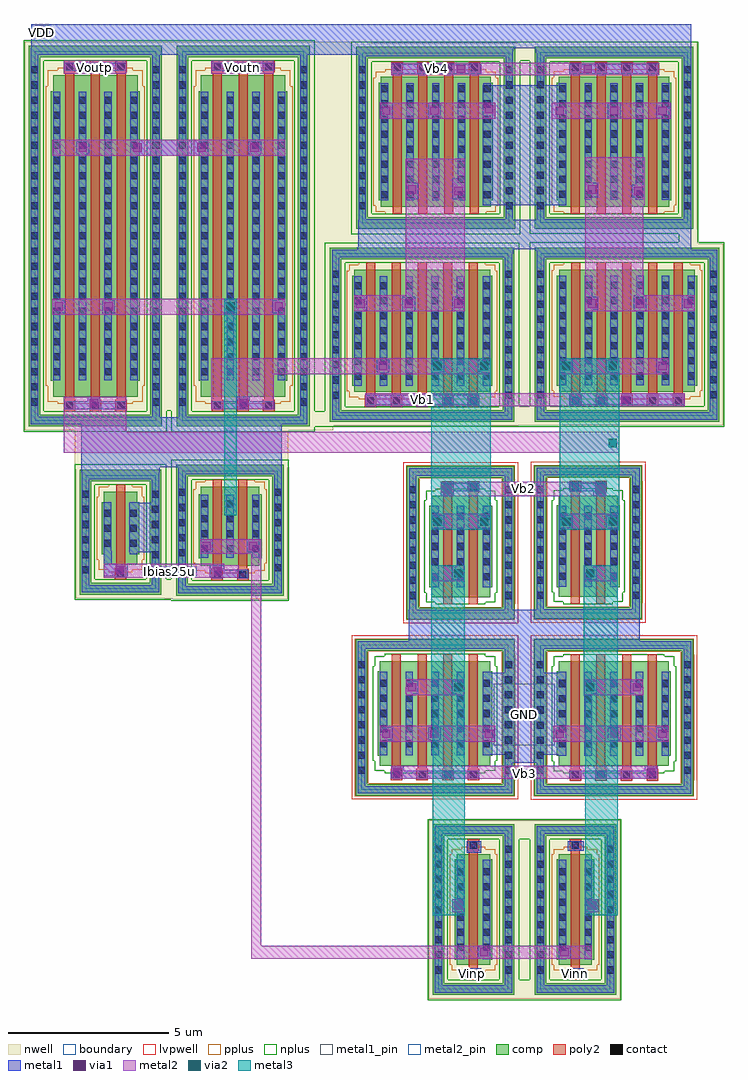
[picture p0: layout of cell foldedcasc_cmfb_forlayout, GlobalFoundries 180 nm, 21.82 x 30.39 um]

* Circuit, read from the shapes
.subckt foldedcasc_cmfb_forlayout GND Ibias25u VDD Vb1 Vb2 Vb3 Vb4 Vinn Vinp Voutn Voutp
XM1 n1 Vb3 GND GND nfet_03v3 w=3.25u l=0.28u m=4
XM2 n1 Vb2 Voutn GND nfet_03v3 w=3.15u l=0.28u m=2
XM3 n2 Vb3 GND GND nfet_03v3 w=3.25u l=0.28u m=4
XM4 n2 Vb2 Voutp GND nfet_03v3 w=3.15u l=0.28u m=2
XM5 VDD Voutp n3 VDD pfet_03v3 w=10u l=0.28u m=3
XM6 VDD Ibias25u Ibias25u VDD pfet_03v3 w=2.27u l=0.28u
XM7 n4 Ibias25u n5 VDD pfet_03v3 w=2.45u l=0.28u m=2
XM8 n3 Voutn VDD VDD pfet_03v3 w=10u l=0.28u m=3
XM9 Voutn Vb1 n6 VDD pfet_03v3 w=3.8u l=0.28u m=5
XM10 n6 Vb4 VDD VDD pfet_03v3 w=4.05u l=0.28u m=4
XM11 n5 Vinp n7 n8 pfet_03v3 w=3.45u l=0.28u
XM12 n9 Vinn n5 n8 pfet_03v3 w=3.45u l=0.28u
XM13 n10 Vb4 VDD VDD pfet_03v3 w=4.05u l=0.28u m=4
XM14 n10 Vb1 Voutp VDD pfet_03v3 w=3.8u l=0.28u m=5
.ends

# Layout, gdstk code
import gdstk
lib = gdstk.Library(unit=1e-6, precision=1e-09)
def R(c, l, rs):  # rectangles x0, y0, x1, y1
    for r in rs: c.add(gdstk.rectangle(r[:2], r[2:], *l))
def A(c, l, x, y, w, h, nx, ny, dx, dy):  # array of equal rectangles
    R(c, l, [(x+i*dx, y+j*dy, x+i*dx+w, y+j*dy+h) for i in range(nx) for j in range(ny)])
boundary = (0, 0)
nwell = (21, 0)
comp = (22, 0)
poly2 = (30, 0)
pplus = (31, 0)
nplus = (32, 0)
contact = (33, 0)
metal1 = (34, 0)
metal1_pin = (34, 10)
via1 = (35, 0)
metal2 = (36, 0)
metal2_pin = (36, 10)
via2 = (38, 0)
metal3 = (42, 0)
lvpwell = (204, 0)

nfet_03v3_h55z6x = lib.new_cell('nfet_03v3_H55Z6X')
R(nfet_03v3_h55z6x, boundary, [(-2.29,-2.255,2.29,2.255)])
R(nfet_03v3_h55z6x, comp, [(-2.47,-2.435,2.47,-2.075), (-2.47,-2.075,-2.11,2.075), (2.11,-2.075,2.47,2.075), (-1.715,-1.505,1.715,-1.195), (-1.78,-1.195,1.78,1.435), (-1.715,1.435,1.715,1.745), (-2.47,2.075,2.47,2.435)])
A(nfet_03v3_h55z6x, poly2, -1.38, -1.965, 0.36, 0.36, 4, 1, 0.8, 0)
A(nfet_03v3_h55z6x, poly2, -1.34, -1.605, 0.28, 3.57, 4, 1, 0.8, 0)
R(nfet_03v3_h55z6x, pplus, [(-2.49,-2.455,2.49,-2.055), (-2.49,-2.055,-2.08,-1.95), (2.08,-2.055,2.49,-1.95), (-2.5,-1.95,-2.08,1.95), (2.08,-1.95,2.5,1.95), (-2.49,1.95,-2.08,2.055), (2.08,1.95,2.49,2.055), (-2.49,2.055,2.49,2.455)])
R(nfet_03v3_h55z6x, nplus, [(-1.57,-1.735,1.57,-1.665), (-1.875,-1.665,1.875,-1.355), (-1.94,-1.355,1.94,1.595), (-1.875,1.595,1.875,1.905), (-1.57,1.905,1.57,1.975)])
A(nfet_03v3_h55z6x, contact, -1.31, -1.895, 0.22, 0.22, 4, 1, 0.8, 0)
A(nfet_03v3_h55z6x, contact, -2.4, -1.755, 0.22, 0.22, 1, 8, 0, 0.47)
A(nfet_03v3_h55z6x, contact, 2.18, -1.755, 0.22, 0.22, 1, 8, 0, 0.47)
A(nfet_03v3_h55z6x, contact, -1.71, -0.93, 0.22, 0.22, 5, 5, 0.8, 0.47)
A(nfet_03v3_h55z6x, metal1, -1.37, -1.9, 0.34, 0.23, 4, 1, 0.8, 0)
A(nfet_03v3_h55z6x, metal1, -1.715, -1.185, 0.23, 2.61, 5, 1, 0.8, 0)
R(nfet_03v3_h55z6x, metal1, [(-2.405,-2.37,2.405,-2.14), (-2.405,-2.14,-2.175,2.14), (2.175,-2.14,2.405,2.14), (-2.405,2.14,2.405,2.37)])
R(nfet_03v3_h55z6x, lvpwell, [(-2.59,-2.555,2.59,2.555)])

nfet_03v3_q9t6p6 = lib.new_cell('nfet_03v3_Q9T6P6')
R(nfet_03v3_q9t6p6, boundary, [(-1.49,-2.205,1.49,2.205)])
R(nfet_03v3_q9t6p6, comp, [(-1.67,-2.385,1.67,-2.025), (-1.67,-2.025,-1.31,2.025), (1.31,-2.025,1.67,2.025), (-0.915,-1.695,0.915,-1.395), (-0.98,-1.395,0.98,1.155), (-0.915,1.155,0.915,1.455), (-1.67,2.025,1.67,2.385)])
R(nfet_03v3_q9t6p6, poly2, [(-0.54,-1.915,-0.26,1.555), (0.26,-1.915,0.54,1.555), (-0.58,1.555,-0.22,1.915), (0.22,1.555,0.58,1.915)])
R(nfet_03v3_q9t6p6, pplus, [(-1.69,-2.405,1.69,-2.005), (-1.69,-2.005,-1.28,-1.9), (1.28,-2.005,1.69,-1.9), (-1.7,-1.9,-1.28,1.9), (1.28,-1.9,1.7,1.9), (-1.69,1.9,-1.28,2.005), (1.28,1.9,1.69,2.005), (-1.69,2.005,1.69,2.405)])
R(nfet_03v3_q9t6p6, nplus, [(-0.77,-1.925,0.77,-1.855), (-1.075,-1.855,1.075,-1.555), (-1.14,-1.555,1.14,1.315), (-1.075,1.315,1.075,1.615), (-0.77,1.615,0.77,1.685)])
A(nfet_03v3_q9t6p6, contact, -1.6, -1.755, 0.22, 0.22, 1, 8, 0, 0.47)
A(nfet_03v3_q9t6p6, contact, 1.38, -1.755, 0.22, 0.22, 1, 8, 0, 0.47)
A(nfet_03v3_q9t6p6, contact, -0.91, -1.17, 0.22, 0.22, 3, 5, 0.8, 0.47)
R(nfet_03v3_q9t6p6, contact, [(-0.51,1.625,-0.29,1.845), (0.29,1.625,0.51,1.845)])
A(nfet_03v3_q9t6p6, metal1, -0.915, -1.385, 0.23, 2.53, 3, 1, 0.8, 0)
R(nfet_03v3_q9t6p6, metal1, [(-1.605,-2.32,1.605,-2.09), (-1.605,-2.09,-1.375,2.09), (1.375,-2.09,1.605,2.09), (-0.57,1.62,-0.23,1.85), (0.23,1.62,0.57,1.85), (-1.605,2.09,1.605,2.32)])
R(nfet_03v3_q9t6p6, lvpwell, [(-1.79,-2.505,1.79,2.505)])

pfet_03v3_93lyuu = lib.new_cell('pfet_03v3_93LYUU')
R(pfet_03v3_93lyuu, boundary, [(-1.09,-2.475,1.09,2.475)])
R(pfet_03v3_93lyuu, nwell, [(-1.39,-2.775,1.39,2.775)])
R(pfet_03v3_93lyuu, comp, [(-1.27,-2.655,1.27,-2.295), (-1.27,-2.295,-0.91,2.295), (0.91,-2.295,1.27,2.295), (-0.515,-1.725,0.515,-1.56), (-0.58,-1.56,0.58,1.56), (-0.515,1.56,0.515,1.725), (-1.27,2.295,1.27,2.655)])
R(pfet_03v3_93lyuu, poly2, [(-0.18,-2.185,0.18,-1.825), (-0.14,-1.825,0.14,1.825), (-0.18,1.825,0.18,2.185)])
R(pfet_03v3_93lyuu, pplus, [(-0.37,-1.955,0.37,-1.885), (-0.675,-1.885,0.675,-1.72), (-0.74,-1.72,0.74,1.72), (-0.675,1.72,0.675,1.885), (-0.37,1.885,0.37,1.955)])
R(pfet_03v3_93lyuu, nplus, [(-1.43,-2.815,1.43,-2.185), (-1.43,-2.185,-0.8,2.185), (0.8,-2.185,1.43,2.185), (-1.43,2.185,1.43,2.815)])
A(pfet_03v3_93lyuu, contact, -1.2, -1.99, 0.22, 0.22, 1, 9, 0, 0.47)
A(pfet_03v3_93lyuu, contact, 0.98, -1.99, 0.22, 0.22, 1, 9, 0, 0.47)
A(pfet_03v3_93lyuu, contact, -0.51, -1.285, 0.22, 0.22, 1, 6, 0, 0.47)
A(pfet_03v3_93lyuu, contact, 0.29, -1.285, 0.22, 0.22, 1, 6, 0, 0.47)
R(pfet_03v3_93lyuu, contact, [(-0.11,-2.115,0.11,-1.895), (-0.11,1.895,0.11,2.115)])
R(pfet_03v3_93lyuu, metal1, [(-1.205,-2.59,1.205,-2.36), (-1.205,-2.36,-0.975,2.36), (0.975,-2.36,1.205,2.36), (-0.17,-2.12,0.17,-1.89), (-0.515,-1.55,-0.285,1.55), (0.285,-1.55,0.515,1.55), (-0.17,1.89,0.17,2.12), (-1.205,2.36,1.205,2.59)])

pfet_03v3_npq64b = lib.new_cell('pfet_03v3_NPQ64B')
R(pfet_03v3_npq64b, boundary, [(-1.09,-1.765,1.09,1.765)])
R(pfet_03v3_npq64b, nwell, [(-1.39,-2.065,1.39,2.065)])
R(pfet_03v3_npq64b, comp, [(-1.27,-1.945,1.27,-1.585), (-1.27,-1.585,-0.91,1.585), (0.91,-1.585,1.27,1.585), (-0.515,-1.015,0.515,-0.695), (-0.58,-0.695,0.58,0.935), (-0.515,0.935,0.515,1.255), (-1.27,1.585,1.27,1.945)])
R(pfet_03v3_npq64b, poly2, [(-0.18,-1.475,0.18,-1.115), (-0.14,-1.115,0.14,1.475)])
R(pfet_03v3_npq64b, pplus, [(-0.37,-1.245,0.37,-1.175), (-0.675,-1.175,0.675,-0.855), (-0.74,-0.855,0.74,1.095), (-0.675,1.095,0.675,1.415), (-0.37,1.415,0.37,1.485)])
R(pfet_03v3_npq64b, nplus, [(-1.43,-2.105,1.43,-1.475), (-1.43,-1.475,-0.8,1.475), (0.8,-1.475,1.43,1.475), (-1.43,1.475,1.43,2.105)])
A(pfet_03v3_npq64b, contact, -1.2, -1.285, 0.22, 0.22, 1, 6, 0, 0.47)
A(pfet_03v3_npq64b, contact, 0.98, -1.285, 0.22, 0.22, 1, 6, 0, 0.47)
A(pfet_03v3_npq64b, contact, -0.51, -0.46, 0.22, 0.22, 1, 3, 0, 0.47)
A(pfet_03v3_npq64b, contact, 0.29, -0.46, 0.22, 0.22, 1, 3, 0, 0.47)
R(pfet_03v3_npq64b, contact, [(-0.11,-1.405,0.11,-1.185)])
R(pfet_03v3_npq64b, metal1, [(-1.205,-1.88,1.205,-1.65), (-1.205,-1.65,-0.975,1.65), (0.975,-1.65,1.205,1.65), (-0.17,-1.41,0.17,-1.18), (-0.515,-0.685,-0.285,0.925), (0.285,-0.685,0.515,0.925), (-1.205,1.65,1.205,1.88)])

pfet_03v3_ph8h39 = lib.new_cell('pfet_03v3_PH8H39')
R(pfet_03v3_ph8h39, boundary, [(-1.49,-1.855,1.49,1.855)])
R(pfet_03v3_ph8h39, nwell, [(-1.79,-2.155,1.79,2.155)])
R(pfet_03v3_ph8h39, comp, [(-1.67,-2.035,1.67,-1.675), (-1.67,-1.675,-1.31,1.675), (1.31,-1.675,1.67,1.675), (-0.915,-1.105,0.915,-0.875), (-0.98,-0.875,0.98,1.115), (-0.915,1.115,0.915,1.345), (-1.67,1.675,1.67,2.035)])
R(pfet_03v3_ph8h39, poly2, [(-0.58,-1.565,-0.22,-1.205), (0.22,-1.565,0.58,-1.205), (-0.54,-1.205,-0.26,1.565), (0.26,-1.205,0.54,1.565)])
R(pfet_03v3_ph8h39, pplus, [(-0.77,-1.335,0.77,-1.265), (-1.075,-1.265,1.075,-1.035), (-1.14,-1.035,1.14,1.275), (-1.075,1.275,1.075,1.505), (-0.77,1.505,0.77,1.575)])
R(pfet_03v3_ph8h39, nplus, [(-1.83,-2.195,1.83,-1.565), (-1.83,-1.565,-1.2,1.565), (1.2,-1.565,1.83,1.565), (-1.83,1.565,1.83,2.195)])
A(pfet_03v3_ph8h39, contact, -1.6, -1.285, 0.22, 0.22, 1, 6, 0, 0.47)
A(pfet_03v3_ph8h39, contact, 1.38, -1.285, 0.22, 0.22, 1, 6, 0, 0.47)
A(pfet_03v3_ph8h39, contact, -0.91, -0.695, 0.22, 0.22, 3, 4, 0.8, 0.47)
R(pfet_03v3_ph8h39, contact, [(-0.51,-1.495,-0.29,-1.275), (0.29,-1.495,0.51,-1.275)])
A(pfet_03v3_ph8h39, metal1, -0.915, -0.865, 0.23, 1.97, 3, 1, 0.8, 0)
R(pfet_03v3_ph8h39, metal1, [(-1.605,-1.97,1.605,-1.74), (-1.605,-1.74,-1.375,1.74), (1.375,-1.74,1.605,1.74), (-0.57,-1.5,-0.23,-1.27), (0.23,-1.5,0.57,-1.27), (-1.605,1.74,1.605,1.97)])

pfet_03v3_9x9wzq = lib.new_cell('pfet_03v3_9X9WZQ')
R(pfet_03v3_9x9wzq, boundary, [(-1.89,-5.75,1.89,5.75)])
R(pfet_03v3_9x9wzq, nwell, [(-2.19,-6.05,2.19,6.05)])
R(pfet_03v3_9x9wzq, comp, [(-2.07,-5.93,2.07,-5.57), (-2.07,-5.57,-1.71,5.57), (1.71,-5.57,2.07,5.57), (-1.315,-5,1.315,-4.505), (-1.38,-4.505,1.38,4.505), (-1.315,4.505,1.315,5), (-2.07,5.57,2.07,5.93)])
A(pfet_03v3_9x9wzq, poly2, -0.98, -5.46, 0.36, 0.36, 3, 2, 0.8, 10.56)
A(pfet_03v3_9x9wzq, poly2, -0.94, -5.1, 0.28, 10.2, 3, 1, 0.8, 0)
R(pfet_03v3_9x9wzq, pplus, [(-1.17,-5.23,1.17,-5.16), (-1.475,-5.16,1.475,-4.665), (-1.54,-4.665,1.54,4.665), (-1.475,4.665,1.475,5.16), (-1.17,5.16,1.17,5.23)])
R(pfet_03v3_9x9wzq, nplus, [(-2.23,-6.09,2.23,-5.46), (-2.23,-5.46,-1.6,5.46), (1.6,-5.46,2.23,5.46), (-2.23,5.46,2.23,6.09)])
A(pfet_03v3_9x9wzq, contact, -0.91, -5.39, 0.22, 0.22, 3, 2, 0.8, 10.56)
A(pfet_03v3_9x9wzq, contact, -2, -5.28, 0.22, 0.22, 1, 23, 0, 0.47)
A(pfet_03v3_9x9wzq, contact, 1.78, -5.28, 0.22, 0.22, 1, 23, 0, 0.47)
A(pfet_03v3_9x9wzq, contact, -1.31, -4.34, 0.22, 0.22, 4, 19, 0.8, 0.47)
A(pfet_03v3_9x9wzq, metal1, -0.97, -5.395, 0.34, 0.23, 3, 2, 0.8, 10.56)
A(pfet_03v3_9x9wzq, metal1, -1.315, -4.495, 0.23, 8.99, 4, 1, 0.8, 0)
R(pfet_03v3_9x9wzq, metal1, [(-2.005,-5.865,2.005,-5.635), (-2.005,-5.635,-1.775,5.635), (1.775,-5.635,2.005,5.635), (-2.005,5.635,2.005,5.865)])

pfet_03v3_bgxdrv = lib.new_cell('pfet_03v3_BGXDRV')
R(pfet_03v3_bgxdrv, boundary, [(-2.29,-2.655,2.29,2.655)])
R(pfet_03v3_bgxdrv, nwell, [(-2.59,-2.955,2.59,2.955)])
R(pfet_03v3_bgxdrv, comp, [(-2.47,-2.835,2.47,-2.475), (-2.47,-2.475,-2.11,2.475), (2.11,-2.475,2.47,2.475), (-1.715,-2.145,1.715,-1.95), (-1.78,-1.95,1.78,1.71), (-1.715,1.71,1.715,1.905), (-2.47,2.475,2.47,2.835)])
A(pfet_03v3_bgxdrv, poly2, -1.34, -2.365, 0.28, 4.37, 4, 1, 0.8, 0)
A(pfet_03v3_bgxdrv, poly2, -1.38, 2.005, 0.36, 0.36, 4, 1, 0.8, 0)
R(pfet_03v3_bgxdrv, pplus, [(-1.57,-2.375,1.57,-2.305), (-1.875,-2.305,1.875,-2.11), (-1.94,-2.11,1.94,1.87), (-1.875,1.87,1.875,2.065), (-1.57,2.065,1.57,2.135)])
R(pfet_03v3_bgxdrv, nplus, [(-2.63,-2.995,2.63,-2.365), (-2.63,-2.365,-2,2.365), (2,-2.365,2.63,2.365), (-2.63,2.365,2.63,2.995)])
A(pfet_03v3_bgxdrv, contact, -2.4, -2.225, 0.22, 0.22, 1, 10, 0, 0.47)
A(pfet_03v3_bgxdrv, contact, 2.18, -2.225, 0.22, 0.22, 1, 10, 0, 0.47)
A(pfet_03v3_bgxdrv, contact, -1.71, -1.875, 0.22, 0.22, 5, 8, 0.8, 0.47)
A(pfet_03v3_bgxdrv, contact, -1.31, 2.075, 0.22, 0.22, 4, 1, 0.8, 0)
A(pfet_03v3_bgxdrv, metal1, -1.715, -1.94, 0.23, 3.64, 5, 1, 0.8, 0)
A(pfet_03v3_bgxdrv, metal1, -1.37, 2.07, 0.34, 0.23, 4, 1, 0.8, 0)
R(pfet_03v3_bgxdrv, metal1, [(-2.405,-2.77,2.405,-2.54), (-2.405,-2.54,-2.175,2.54), (2.175,-2.54,2.405,2.54), (-2.405,2.54,2.405,2.77)])

pfet_03v3_k6vr6n = lib.new_cell('pfet_03v3_K6VR6N')
R(pfet_03v3_k6vr6n, boundary, [(-2.69,-2.53,2.69,2.53)])
R(pfet_03v3_k6vr6n, nwell, [(-2.99,-2.83,2.99,2.83)])
R(pfet_03v3_k6vr6n, comp, [(-2.87,-2.71,2.87,-2.35), (-2.87,-2.35,-2.51,2.35), (2.51,-2.35,2.87,2.35), (-2.115,-1.78,2.115,-1.595), (-2.18,-1.595,2.18,1.835), (-2.115,1.835,2.115,2.02), (-2.87,2.35,2.87,2.71)])
A(pfet_03v3_k6vr6n, poly2, -1.78, -2.24, 0.36, 0.36, 5, 1, 0.8, 0)
A(pfet_03v3_k6vr6n, poly2, -1.74, -1.88, 0.28, 4.12, 5, 1, 0.8, 0)
R(pfet_03v3_k6vr6n, pplus, [(-1.97,-2.01,1.97,-1.94), (-2.275,-1.94,2.275,-1.755), (-2.34,-1.755,2.34,1.995), (-2.275,1.995,2.275,2.18), (-1.97,2.18,1.97,2.25)])
R(pfet_03v3_k6vr6n, nplus, [(-3.03,-2.87,3.03,-2.24), (-3.03,-2.24,-2.4,2.24), (2.4,-2.24,3.03,2.24), (-3.03,2.24,3.03,2.87)])
A(pfet_03v3_k6vr6n, contact, -1.71, -2.17, 0.22, 0.22, 5, 1, 0.8, 0)
A(pfet_03v3_k6vr6n, contact, -2.8, -1.99, 0.22, 0.22, 1, 9, 0, 0.47)
A(pfet_03v3_k6vr6n, contact, 2.58, -1.99, 0.22, 0.22, 1, 9, 0, 0.47)
A(pfet_03v3_k6vr6n, contact, -2.11, -1.4, 0.22, 0.22, 6, 7, 0.8, 0.47)
A(pfet_03v3_k6vr6n, metal1, -1.77, -2.175, 0.34, 0.23, 5, 1, 0.8, 0)
A(pfet_03v3_k6vr6n, metal1, -2.115, -1.585, 0.23, 3.41, 6, 1, 0.8, 0)
R(pfet_03v3_k6vr6n, metal1, [(-2.805,-2.645,2.805,-2.415), (-2.805,-2.415,-2.575,2.415), (2.575,-2.415,2.805,2.415), (-2.805,2.415,2.805,2.645)])

foldedcasc_cmfb_forlayou = lib.new_cell('foldedcasc_cmfb_forlayout')
R(foldedcasc_cmfb_forlayou, nwell, [(4.2,-11.85,4.6,-6.3), (-6.8,0.6,-6.5,4.65), (-9.6,4.65,-6.5,4.7), (-9.6,4.7,-2.95,6), (-2.2,5.85,-1.55,6), (-6.8,6,-6.55,17.95), (-2.2,6,-1.75,11.65), (4.2,6,4.65,11.65), (-2.2,11.65,9.8,12), (-2.2,12,-0.95,17.85), (4.2,12,9.8,12.1), (4.2,12.1,4.6,17.8), (4.2,17.8,9.75,17.95), (-2.2,17.85,-0.4,17.95)])
R(foldedcasc_cmfb_forlayou, nplus, [(4.245,-11.89,4.56,-11.26), (4.245,-6.89,4.56,-6.26), (-6.745,0.575,-6.595,1.205), (-2.13,5.955,-1.815,6.44), (4.245,5.96,4.565,6.59), (-6.73,6.455,-6.59,17.99), (9.21,11.7,9.82,11.965), (4.27,17.36,4.56,17.95)])
R(foldedcasc_cmfb_forlayou, metal1, [(2.55,-11.2,3.05,-10.9), (5.75,-11.2,6.25,-10.9), (2.95,-10.6,3.1,-10.55), (5.7,-10.6,5.85,-10.55), (2.95,-10.55,3.3,-10.25), (5.5,-10.55,5.85,-10.25), (2.95,-10.25,3.1,-10.2), (5.7,-10.25,5.85,-10.2), (2.15,-9.15,2.3,-9.1), (6.5,-9.15,6.7,-9.1), (2.15,-9.1,2.5,-8.8), (6.35,-9.1,6.7,-8.8), (2.15,-8.8,2.3,-8.75), (6.5,-8.8,6.7,-8.75), (2.6,-7.3,3.05,-6.95), (5.75,-7.25,6.25,-6.95), (0.5,-5,3,-4.95), (5.8,-5,8.55,-4.75), (0.25,-4.95,3,-4.75), (0.25,-4.75,0.65,-4.6), (8.15,-4.75,8.55,-4.6), (3.8,-4.5,5,-4.25), (3.1,-4.25,5.7,-3.75), (0.1,-3.8,0.3,-3.75), (1.4,-3.8,1.6,-3.75), (1.65,-3.8,1.8,-3.75), (7,-3.8,7.4,-3.4), (8.5,-3.8,8.7,-3.75), (-0.05,-3.75,0.3,-3.45), (1.4,-3.75,1.8,-3.45), (3.15,-3.75,5.65,-3.45), (8.5,-3.75,8.85,-3.45), (0.1,-3.45,0.3,-3.4), (1.4,-3.45,1.6,-3.4), (1.65,-3.45,1.8,-3.4), (3.1,-3.45,5.7,-1.7), (8.5,-3.45,8.7,-3.4), (0.9,-2.35,1.1,-2.3), (2.15,-2.35,2.3,-2.3), (6.5,-2.35,6.65,-2.3), (7.7,-2.35,7.9,-2.3), (0.75,-2.3,1.1,-2), (2.15,-2.3,2.5,-2), (6.3,-2.3,6.65,-2), (7.7,-2.3,8.05,-2), (0.9,-2,1.1,-1.95), (2.15,-2,2.3,-1.95), (6.5,-2,6.65,-1.95), (7.7,-2,7.9,-1.95), (3.8,-1.7,5,-1.35), (3.95,-1.35,4.85,-0.85), (3.95,-0.85,8,-0.8), (0.8,-0.8,8,-0.6), (0.8,-0.6,7.99,-0.55), (0.805,-0.55,7.99,0.26), (2.15,1.2,2.3,1.25), (6.5,1.2,6.65,1.25), (-5.4,1.25,-4.2,1.5), (2.15,1.25,2.5,1.55), (6.3,1.25,6.65,1.55), (-8.7,1.3,-8.3,1.35), (-8.05,1.3,-7.95,1.35), (-8.7,1.35,-7.95,1.7), (-5.4,1.5,-4.95,1.65), (2.15,1.55,2.3,1.6), (6.5,1.55,6.65,1.6), (-8.7,1.7,-8.45,2.1), (-7.1,1.7,-7,1.85), (-7.2,1.85,-7,2.05), (-7.9,2.05,-7,3.6), (-5.45,2.05,-5.3,2.1), (-4.25,2.05,-4.05,2.1), (-5.65,2.1,-5.3,2.4), (-4.25,2.1,-3.9,2.4), (-5.45,2.4,-5.3,2.45), (-4.25,2.4,-4.05,2.45), (1.5,2.8,1.9,3.2), (2.95,2.8,3.35,3.2), (5.7,2.8,5.9,2.85), (6.95,2.8,7.3,3.2), (5.55,2.85,5.9,3.15), (5.7,3.15,5.9,3.2), (-7.2,3.6,-7,3.9), (1.8,3.8,2.2,3.95), (6.55,3.8,6.95,3.95), (1.8,3.95,3,4.2), (5.8,3.95,6.95,4.2), (-9.4,4.55,-6.95,4.7), (-6.2,4.65,-3.4,4.7), (-9.4,4.7,-3.15,6.25), (-9.9,6.5,-8,6.75), (-5.3,6.5,-3.4,6.75), (-0.55,6.65,3,6.95), (5.8,6.65,9.4,7), (-9.2,6.75,-8.8,6.9), (-4.55,6.75,-4.15,6.9), (5.7,7.6,5.9,7.7), (-0.2,7.65,0.2,8.05), (1.5,7.65,1.9,8.05), (2.95,7.65,3.35,8.05), (6.95,7.65,7.35,8.05), (8.5,7.65,8.7,7.7), (5.55,7.7,5.9,8), (8.5,7.7,8.85,8), (5.7,8,5.9,8.1), (8.5,8,8.7,8.1), (-10.3,9.5,-9.9,9.9), (-8.75,9.5,-8.35,9.9), (-4.95,9.5,-4.55,9.9), (-3.45,9.5,-3.05,9.9), (-0.7,9.55,-0.5,9.65), (0.6,9.55,1,10), (2.15,9.55,2.3,9.65), (7.8,9.55,8.2,10.05), (9.3,9.55,9.5,9.65), (6.5,9.6,6.7,9.65), (-0.85,9.65,-0.5,9.95), (2.15,9.65,2.5,9.95), (6.35,9.65,6.7,9.95), (9.3,9.65,9.65,9.95), (-0.7,9.95,-0.5,10.05), (2.15,9.95,2.3,10), (6.5,9.95,6.7,10), (9.3,9.95,9.5,10.05), (-0.8,11.35,4.05,11.48), (4.75,11.45,9.6,11.48), (-0.8,11.48,9.6,11.55), (-0.78,11.55,9.6,12.41), (3.1,12.85,5.7,15.55), (0.95,13.05,1.1,13.2), (2.15,13.05,2.35,13.15), (6.5,13.1,6.7,13.2), (7.75,13.1,7.9,13.15), (2.15,13.15,2.5,13.6), (7.75,13.15,8.1,13.45), (0.75,13.2,1.1,13.5), (6.35,13.2,6.7,13.5), (7.75,13.45,7.9,13.5), (0.95,13.5,1.1,13.55), (6.5,13.5,6.7,13.55), (2.15,13.6,2.35,13.7), (-7.85,14.4,-5.5,14.9), (-9.55,14.45,-9.15,14.85), (-4.2,14.45,-3.8,14.85), (0.15,15.55,0.3,15.65), (1.4,15.55,1.8,16.05), (3.1,15.55,3.15,15.7), (3.35,15.55,5.5,15.65), (7,15.55,7.4,16.05), (8.5,15.55,8.7,15.6), (8.5,15.6,8.85,15.95), (-0.05,15.65,0.3,15.95), (3.35,15.65,5.65,15.7), (3.1,15.7,5.65,15.95), (0.15,15.95,0.3,16.05), (3.1,15.95,5.5,16), (8.5,15.95,8.7,16), (3.1,16,3.15,16.05), (3.35,16,5.5,16.05), (8.5,16,8.9,16.05), (3.1,16.05,5.7,16.6), (-9.15,16.95,-8.75,17.05), (-4.55,16.95,-4.15,17.05), (0.25,16.95,3.05,17.25), (5.8,16.95,8.6,17.25), (-9.95,17.05,-8.05,17.3), (-5.3,17.05,-3.4,17.3), (-10.95,17.55,-0.75,17.65), (4.75,17.6,9.6,17.74), (-10.95,17.65,4.05,17.74), (-10.95,17.74,9.6,18.5)])
R(foldedcasc_cmfb_forlayou, metal1_pin, [(2.55,-11.2,3.05,-10.9), (5.75,-11.2,6.25,-10.9), (3.45,-3.95,5.35,-2.05), (-10.85,18.05,-10.4,18.45)])
A(foldedcasc_cmfb_forlayou, via1, 6.37, 9.67, 0.26, 0.26, 3, 1, 1.5, 0)
R(foldedcasc_cmfb_forlayou, via1, [(3.02,-10.53,3.28,-10.27), (5.52,-10.53,5.78,-10.27), (2.22,-9.08,2.48,-8.82), (6.37,-9.08,6.63,-8.82), (0.32,-4.93,0.58,-4.67), (8.22,-4.93,8.48,-4.67), (-0.03,-3.73,0.23,-3.47), (1.47,-3.73,1.73,-3.47), (3.17,-3.73,3.43,-3.47), (5.37,-3.73,5.63,-3.47), (7.07,-3.73,7.33,-3.47), (8.57,-3.73,8.83,-3.47), (0.77,-2.28,1.03,-2.02), (2.22,-2.28,2.48,-2.02), (6.32,-2.28,6.58,-2.02), (7.77,-2.28,8.03,-2.02), (2.22,1.27,2.48,1.53), (6.32,1.27,6.58,1.53), (-5.28,1.32,-5.02,1.58), (-8.33,1.37,-8.07,1.63), (-5.63,2.12,-5.37,2.38), (-4.18,2.12,-3.92,2.38), (1.57,2.87,1.83,3.13), (3.02,2.87,3.28,3.13), (5.57,2.87,5.83,3.13), (7.02,2.87,7.28,3.13), (1.87,3.87,2.13,4.13), (6.62,3.87,6.88,4.13), (-9.13,6.57,-8.87,6.83), (-4.48,6.57,-4.22,6.83), (1.07,6.67,1.33,6.93), (7.42,6.67,7.68,6.93), (-0.13,7.72,0.13,7.98), (1.57,7.72,1.83,7.98), (3.02,7.72,3.28,7.98), (5.57,7.72,5.83,7.98), (7.02,7.72,7.28,7.98), (8.57,7.72,8.83,7.98), (-10.23,9.57,-9.97,9.83), (-8.68,9.57,-8.42,9.83), (-4.88,9.57,-4.62,9.83), (-3.38,9.57,-3.12,9.83), (-0.83,9.67,-0.57,9.93), (0.67,9.67,0.93,9.93), (2.22,9.67,2.48,9.93), (2.22,13.17,2.48,13.43), (7.82,13.17,8.08,13.43), (0.77,13.22,1.03,13.48), (6.37,13.22,6.63,13.48), (-9.48,14.52,-9.22,14.78), (-7.78,14.52,-7.52,14.78), (-5.78,14.52,-5.52,14.78), (-4.13,14.52,-3.87,14.78), (-0.03,15.67,0.23,15.93), (1.47,15.67,1.73,15.93), (5.37,15.67,5.63,15.93), (7.07,15.67,7.33,15.93), (8.57,15.67,8.83,15.93), (3.17,15.72,3.43,15.98), (2.295,16.97,2.555,17.23), (6.245,16.97,6.505,17.23), (-9.08,17.02,-8.82,17.28), (-4.48,17.02,-4.22,17.28)])
R(foldedcasc_cmfb_forlayou, metal2, [(-4.1,-10.6,6.5,-10.2), (-4.1,-10.2,-3.8,2), (2.15,-9.15,2.55,-8.75), (6.3,-9.15,6.7,-8.75), (0.25,-5,8.55,-4.6), (-0.1,-3.85,3.5,-3.35), (5.3,-3.85,8.9,-3.35), (0.7,-2.4,2.55,-1.9), (6.25,-2.4,8.1,-1.9), (1.5,1.15,2.55,1.65), (6.25,1.15,7.3,1.65), (-8.7,1.25,-4.5,1.65), (-8.7,1.65,-4.95,1.7), (-5.7,2,-3.8,2.45), (1.5,2.75,3.35,3.25), (5.5,2.75,7.35,3.25), (1.8,3.8,6.95,4.25), (-9.95,5.15,7.35,5.8), (-9.95,5.8,-8,6.9), (-5.35,6.5,-3.4,7.6), (-0.55,6.6,9.4,7), (-5.35,7.6,3.35,8.1), (5.5,7.6,8.9,8.1), (-10.3,9.45,-3.05,9.95), (-0.9,9.55,2.55,10.05), (6.3,9.55,9.7,10.05), (0.7,10.05,2.55,14.3), (6.3,10.05,8.1,12.85), (6.3,12.85,8.15,14.35), (-10.3,14.4,-3.05,14.9), (-0.1,15.55,3.5,16.05), (5.25,15.55,8.95,16.05), (0.25,16.9,8.6,17.3), (-9.95,16.95,-8,17.35), (-5.35,16.95,-3.4,17.35)])
R(foldedcasc_cmfb_forlayou, metal2_pin, [(4.1,-5,4.7,-4.7), (-7.5,1.3,-5.8,1.6), (4.15,3.8,4.6,4.25), (-0.55,6.65,3,6.95), (-9.95,16.95,-8,17.35), (-5.35,16.95,-3.4,17.35), (0.25,16.95,3.05,17.25)])
R(foldedcasc_cmfb_forlayou, via2, [(2.22,-2.28,2.48,-2.02), (6.32,-2.28,6.58,-2.02), (2.22,1.27,2.48,1.53), (6.32,1.27,6.58,1.53), (1.57,2.87,1.83,3.13), (3.02,2.87,3.28,3.13), (5.57,2.87,5.83,3.13), (7.02,2.87,7.28,3.13), (7.02,5.32,7.28,5.58), (1.57,7.72,1.83,7.98), (3.02,7.72,3.28,7.98), (5.57,7.72,5.83,7.98), (7.02,7.72,7.28,7.98), (-4.88,9.57,-4.62,9.83)])
R(foldedcasc_cmfb_forlayou, metal3, [(1.55,-9.25,2.55,-2.4), (6.3,-9.25,7.3,-2.4), (1.5,-2.4,2.55,1.65), (6.25,-2.4,7.3,1.65), (1.5,2.75,3.35,8.1), (5.5,2.75,7.35,8.1), (-4.95,3.2,-4.55,9.95)])
foldedcasc_cmfb_forlayou.add(gdstk.Reference(nfet_03v3_h55z6x, (1.615,-3.09)))
foldedcasc_cmfb_forlayou.add(gdstk.Reference(nfet_03v3_q9t6p6, (2.415,2.35)))
foldedcasc_cmfb_forlayou.add(gdstk.Reference(nfet_03v3_h55z6x, (7.185,-3.095)))
foldedcasc_cmfb_forlayou.add(gdstk.Reference(nfet_03v3_q9t6p6, (6.385,2.36)))
foldedcasc_cmfb_forlayou.add(gdstk.Reference(pfet_03v3_93lyuu, (2.815,-9.075)))
foldedcasc_cmfb_forlayou.add(gdstk.Reference(pfet_03v3_93lyuu, (5.99,-9.075)))
foldedcasc_cmfb_forlayou.add(gdstk.Reference(pfet_03v3_npq64b, (-8.175,2.68)))
foldedcasc_cmfb_forlayou.add(gdstk.Reference(pfet_03v3_ph8h39, (-4.765,2.74)))
foldedcasc_cmfb_forlayou.add(gdstk.Reference(pfet_03v3_9x9wzq, (-8.96,11.9)))
foldedcasc_cmfb_forlayou.add(gdstk.Reference(pfet_03v3_9x9wzq, (-4.36,11.9)))
foldedcasc_cmfb_forlayou.add(gdstk.Reference(pfet_03v3_bgxdrv, (1.64,14.955)))
foldedcasc_cmfb_forlayou.add(gdstk.Reference(pfet_03v3_k6vr6n, (1.215,8.825)))
foldedcasc_cmfb_forlayou.add(gdstk.Reference(pfet_03v3_bgxdrv, (7.19,14.96)))
foldedcasc_cmfb_forlayou.add(gdstk.Reference(pfet_03v3_k6vr6n, (7.595,8.83)))
foldedcasc_cmfb_forlayou.add(gdstk.Label('VDD', (-10.625,18.25), layer=34, texttype=10))
foldedcasc_cmfb_forlayou.add(gdstk.Label('Vb4', (1.65,17.1), layer=36, texttype=10))
foldedcasc_cmfb_forlayou.add(gdstk.Label('Vb1', (1.225,6.8), layer=36, texttype=10))
foldedcasc_cmfb_forlayou.add(gdstk.Label('Vb2', (4.375,4.025), layer=36, texttype=10))
foldedcasc_cmfb_forlayou.add(gdstk.Label('Vinp', (2.8,-11.05), layer=34, texttype=10))
foldedcasc_cmfb_forlayou.add(gdstk.Label('Vinn', (6,-11.05), layer=34, texttype=10))
foldedcasc_cmfb_forlayou.add(gdstk.Label('Vb3', (4.4,-4.85), layer=36, texttype=10))
foldedcasc_cmfb_forlayou.add(gdstk.Label('Voutp', (-8.975,17.15), layer=36, texttype=10))
foldedcasc_cmfb_forlayou.add(gdstk.Label('Voutn', (-4.375,17.15), layer=36, texttype=10))
foldedcasc_cmfb_forlayou.add(gdstk.Label('GND', (4.4,-3), layer=34, texttype=10))
foldedcasc_cmfb_forlayou.add(gdstk.Label('Ibias25u', (-6.65,1.45), layer=36, texttype=10))

lib.write_gds('foldedcasc_cmfb_forlayout.gds')
